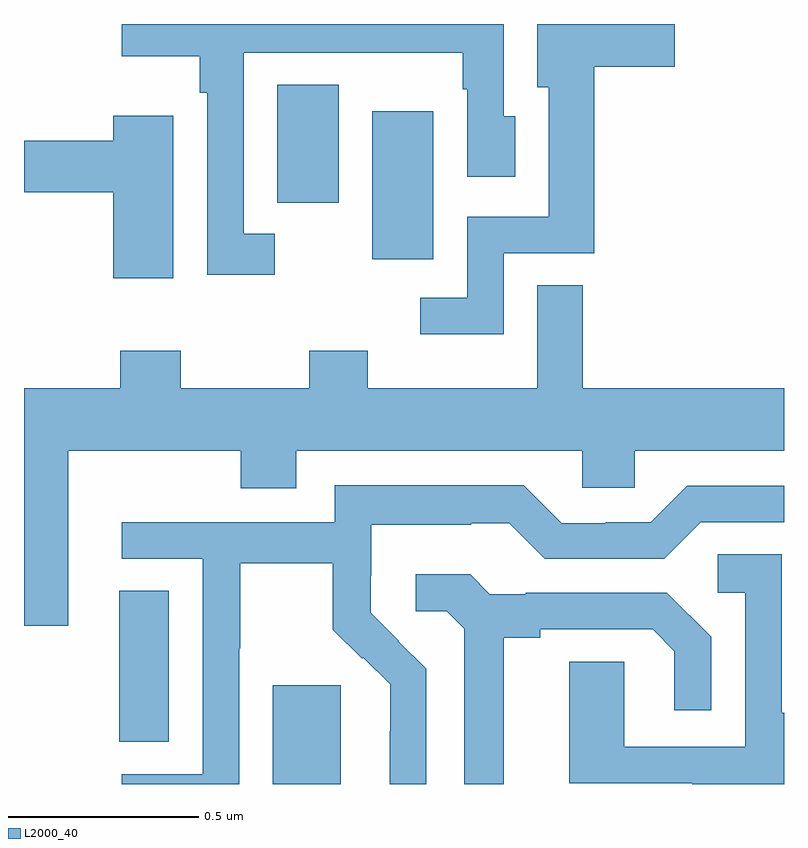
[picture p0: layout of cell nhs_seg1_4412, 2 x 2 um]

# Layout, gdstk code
import gdstk
lib = gdstk.Library(unit=1e-6, precision=1e-09)
def R(c, l, rs):  # rectangles x0, y0, x1, y1
    for r in rs: c.add(gdstk.rectangle(r[:2], r[2:], *l))
def P(c, l, *ps):  # polygons
    for p in ps: c.add(gdstk.Polygon(p, *l))
L2000_40 = (2000, 40)

nhs_seg1_4412 = lib.new_cell('nhs_seg1_4412')
R(nhs_seg1_4412, L2000_40, [(166.655,540.199,166.834,540.459), (166.25,540.31,166.381,540.707), (166.916,541.58,167.077,541.969), (166.667,541.728,166.828,542.039)])
P(nhs_seg1_4412, L2000_40, [(166.66,541.647),(166.578,541.647),(166.578,542.124),(166.924,542.124),(166.924,542.123),(167.154,542.123),(167.154,542.027),(167.166,542.027),(167.166,541.797),(167.293,541.797),(167.293,541.956),(167.262,541.956),(167.262,542.199),(166.257,542.199),(166.257,542.114),(166.462,542.114),(166.462,542.018),(166.482,542.018),(166.482,541.539),(166.66,541.539)],
  [(167.262,541.596),(167.5,541.596),(167.5,542.087),(167.713,542.087),(167.713,542.199),(167.351,542.199),(167.351,542.033),(167.381,542.033),(167.381,541.692),(167.166,541.692),(167.166,541.479),(167.043,541.479),(167.043,541.382),(167.262,541.382)],
  [(166.393,541.957),(166.235,541.957),(166.235,541.892),(166,541.892),(166,541.756),(166.235,541.756),(166.235,541.53),(166.393,541.53)],
  [(166.117,541.076),(166.57,541.076),(166.57,540.977),(166.717,540.977),(166.717,541.076),(167.469,541.076),(167.469,540.978),(167.607,540.978),(167.607,541.076),(168,541.076),(168,541.24),(167.47,541.24),(167.47,541.511),(167.351,541.511),(167.351,541.24),(166.905,541.24),(166.905,541.339),(166.75,541.339),(166.75,541.24),(166.413,541.24),(166.413,541.339),(166.253,541.339),(166.253,541.24),(166,541.24),(166,540.615),(166.117,540.615)],
  [(166.566,540.556),(166.569,540.556),(166.569,540.78),(166.813,540.78),(166.813,540.605),(166.89,540.528),(166.893,540.531),(166.964,540.461),(166.964,540.338),(166.962,540.338),(166.962,540.199),(167.058,540.199),(167.058,540.502),(166.985,540.575),(166.986,540.576),(166.912,540.65),(166.912,540.747),(166.914,540.747),(166.914,540.881),(167.177,540.881),(167.177,540.885),(167.277,540.885),(167.37,540.792),(167.685,540.792),(167.781,540.888),(168,540.888),(168,540.984),(167.745,540.984),(167.649,540.888),(167.531,540.888),(167.531,540.885),(167.415,540.885),(167.315,540.985),(166.818,540.985),(166.818,540.888),(166.257,540.888),(166.257,540.792),(166.47,540.792),(166.47,540.225),(166.257,540.225),(166.257,540.199),(166.566,540.199)],
  [(168,540.387),(167.994,540.387),(167.994,540.803),(167.826,540.803),(167.826,540.702),(167.898,540.702),(167.898,540.297),(167.58,540.297),(167.58,540.521),(167.435,540.521),(167.435,540.201),(167.759,540.201),(167.759,540.199),(168,540.199)],
  [(167.263,540.584),(167.359,540.584),(167.359,540.606),(167.654,540.606),(167.711,540.549),(167.711,540.393),(167.808,540.393),(167.808,540.586),(167.692,540.702),(167.32,540.702),(167.32,540.699),(167.226,540.699),(167.174,540.751),(167.031,540.751),(167.031,540.654),(167.112,540.654),(167.159,540.607),(167.159,540.199),(167.263,540.199)])

lib.write_gds('nhs_seg1_4412.gds')
